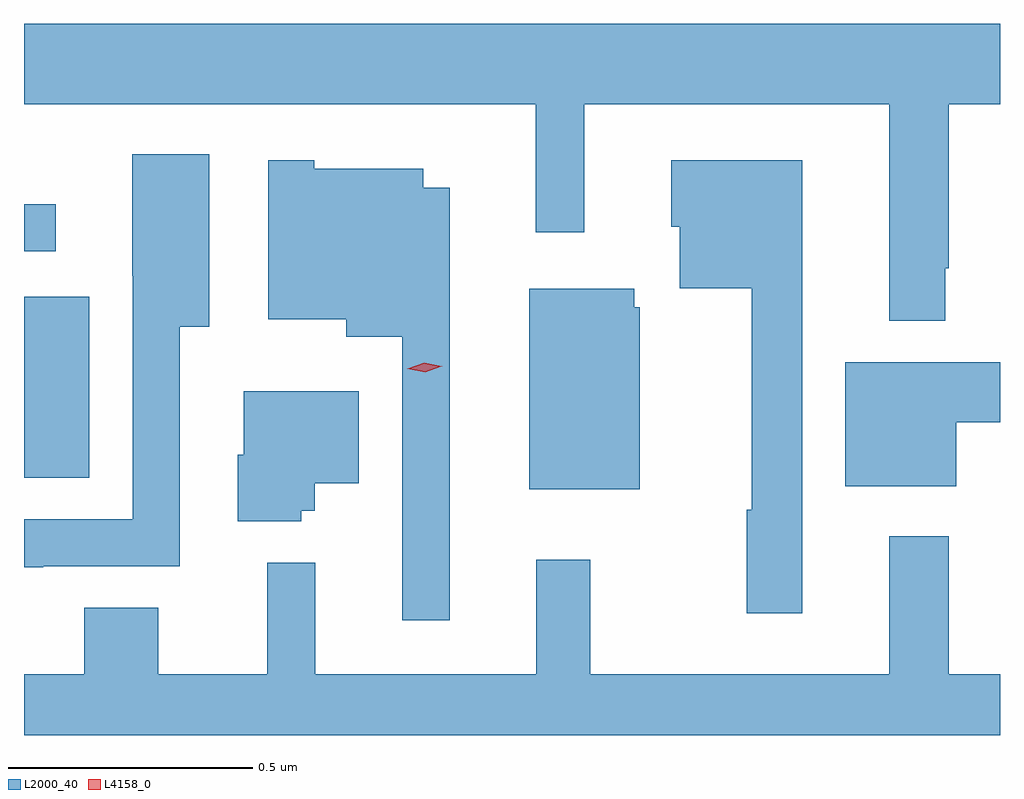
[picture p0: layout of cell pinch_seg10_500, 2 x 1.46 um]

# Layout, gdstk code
import gdstk
lib = gdstk.Library(unit=1e-6, precision=1e-09)
def R(c, l, rs):  # rectangles x0, y0, x1, y1
    for r in rs: c.add(gdstk.rectangle(r[:2], r[2:], *l))
def P(c, l, *ps):  # polygons
    for p in ps: c.add(gdstk.Polygon(p, *l))
L2000_40 = (2000, 40)
L4158_0 = (4158, 0)

pinch_seg10_500 = lib.new_cell('pinch_seg10_500')
R(pinch_seg10_500, L2000_40, [(322.082,1294.222,322.216,1294.593), (322.082,1294.686,322.147,1294.783)])
P(pinch_seg10_500, L2000_40, [(323.97,1294.651),(323.977,1294.651),(323.977,1294.988),(324.082,1294.988),(324.082,1295.152),(322.082,1295.152),(322.082,1294.988),(323.131,1294.988),(323.131,1294.725),(323.23,1294.725),(323.23,1294.988),(323.855,1294.988),(323.855,1294.544),(323.97,1294.544)],
  [(322.121,1294.041),(322.401,1294.041),(322.401,1294.532),(322.462,1294.532),(322.462,1294.885),(322.304,1294.885),(322.304,1294.636),(322.305,1294.636),(322.305,1294.137),(322.082,1294.137),(322.082,1294.039),(322.121,1294.039)],
  [(323.677,1294.873),(323.408,1294.873),(323.408,1294.737),(323.426,1294.737),(323.426,1294.61),(323.573,1294.61),(323.573,1294.157),(323.563,1294.157),(323.563,1293.945),(323.677,1293.945)],
  [(322.954,1294.816),(322.9,1294.816),(322.9,1294.855),(322.677,1294.855),(322.677,1294.873),(322.583,1294.873),(322.583,1294.547),(322.742,1294.547),(322.742,1294.511),(322.857,1294.511),(322.857,1293.93),(322.954,1293.93)],
  [(323.344,1294.572),(323.332,1294.572),(323.332,1294.609),(323.117,1294.609),(323.117,1294.199),(323.344,1294.199)],
  [(323.992,1294.336),(324.082,1294.336),(324.082,1294.459),(323.765,1294.459),(323.765,1294.205),(323.992,1294.205)],
  [(322.65,1294.155),(322.678,1294.155),(322.678,1294.211),(322.768,1294.211),(322.768,1294.399),(322.532,1294.399),(322.532,1294.269),(322.52,1294.269),(322.52,1294.133),(322.65,1294.133)],
  [(324.082,1293.82),(323.977,1293.82),(323.977,1294.102),(323.855,1294.102),(323.855,1293.82),(323.242,1293.82),(323.242,1294.054),(323.132,1294.054),(323.132,1293.82),(322.679,1293.82),(322.679,1294.048),(322.58,1294.048),(322.58,1293.82),(322.357,1293.82),(322.357,1293.956),(322.205,1293.956),(322.205,1293.82),(322.082,1293.82),(322.082,1293.695),(324.082,1293.695)])
P(pinch_seg10_500, L4158_0, [(322.904,1294.438),(322.867,1294.446),(322.867,1294.446),(322.867,1294.446),(322.902,1294.458),(322.938,1294.451),(322.939,1294.451),(322.938,1294.451)])

lib.write_gds('pinch_seg10_500.gds')
